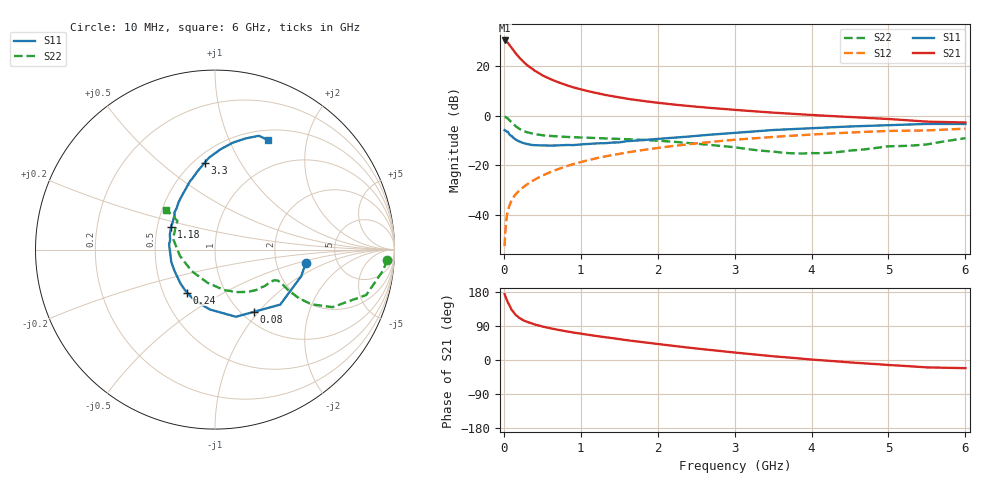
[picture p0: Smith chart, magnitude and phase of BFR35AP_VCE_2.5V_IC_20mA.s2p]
! Infineon Technologies  Discrete & RF Semiconductors
! BFR35AP
! VCE =  2.5 V,  IC =  20 mA
! Common Emitter S-Parameters:  Nov 2015
# GHz  S  MA  R  50
!  f  S11  S21  S12  S22
! GHz  MAG  ANG  MAG  ANG  MAG  ANG  MAG  ANG
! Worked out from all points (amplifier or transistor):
!   210 points, 10 MHz to 6 GHz, reference 50 ohm
!   highest |S21| = 30.1 dB at 10 MHz (marker M1)
!   |S21| within 3 dB of that: start of sweep to 103.2 MHz
!   unconditionally stable (mu >= 1): 366.8 MHz to 3.404 GHz
!   at 185 MHz: K = 0.77, MSG = 27.2 dB, |S12| = -30.6 dB
!   at 1.52 GHz: K = 1.12, MAG = 9.1 dB, |S12| = -15.2 dB
!   at 6 GHz: K = 0.98, MSG = 1.2 dB, |S12| = -5.3 dB
!   S11 on the Smith chart (normalised r, x): 10 MHz: 2.94, -0.61; 80 MHz: 1.13, -0.94; 240 MHz: 0.66, -0.35; 1.18 GHz: 0.59, +0.16; 3.3 GHz: 0.56, +0.71; 6 GHz: 0.62, +1.41
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0.01  0.5105 -8.6  32.11 173.9  0.0024 83.8  0.9617 -3.4
0.02  0.5031 -17.0  31.6 167.9  0.005 82.3  0.9434 -7.1
0.05  0.4755 -40.1  29.18 152.1  0.012 75.2  0.8798 -16.7
0.08  0.4085 -58.2  25.16 141.5  0.0167 69.8  0.7865 -21.9
0.1  0.392 -72.7  23.09 132.5  0.0199 67.6  0.7287 -26.1
0.15  0.3347 -95.1  18.05 119.4  0.0261 65.1  0.6169 -29.6
0.2  0.3033 -112.5  14.62 111.1  0.0311 65.8  0.543 -30.1
0.24  0.2857 -122.8  12.6 106.3  0.0353 65.9  0.504 -29.6
0.3  0.2691 -135.9  10.33 100.4  0.0414 67.5  0.4634 -28.9
0.4  0.255 -152.1  7.972 93.8  0.0517 68.5  0.4255 -27.3
0.5  0.2534 -164.1  6.432 88.2  0.0621 69.7  0.4026 -26.4
0.7  0.2524 -179.7  4.699 79.6  0.0838 70.0  0.3815 -26.6
0.8  0.2573 173.4  4.123 76.0  0.0945 69.0  0.3738 -27.2
1.02  0.266 160.6  3.295 68.8  0.119 67.9  0.3626 -29.3
1.18  0.2756 152.5  2.883 64.0  0.1365 66.7  0.3547 -31.5
1.6  0.3065 137.4  2.176 52.2  0.1817 62.3  0.3349 -38.7
2.02  0.3411 125.0  1.791 41.8  0.2262 57.4  0.311 -47.6
3.1  0.4613 100.4  1.268 17.8  0.3362 43.5  0.2198 -81.5
3.3  0.4864 96.9  1.203 14.0  0.3545 40.6  0.2011 -91.3
4.1  0.5689 85.4  1.007 -0.2  0.4247 29.9  0.1761 -144.1
5.1  0.6489 73.5  0.834 -14.3  0.4934 15.6  0.2434 160.4
6  0.6781 64.0  0.726 -21.5  0.5461 5.2  0.3517 140.6
